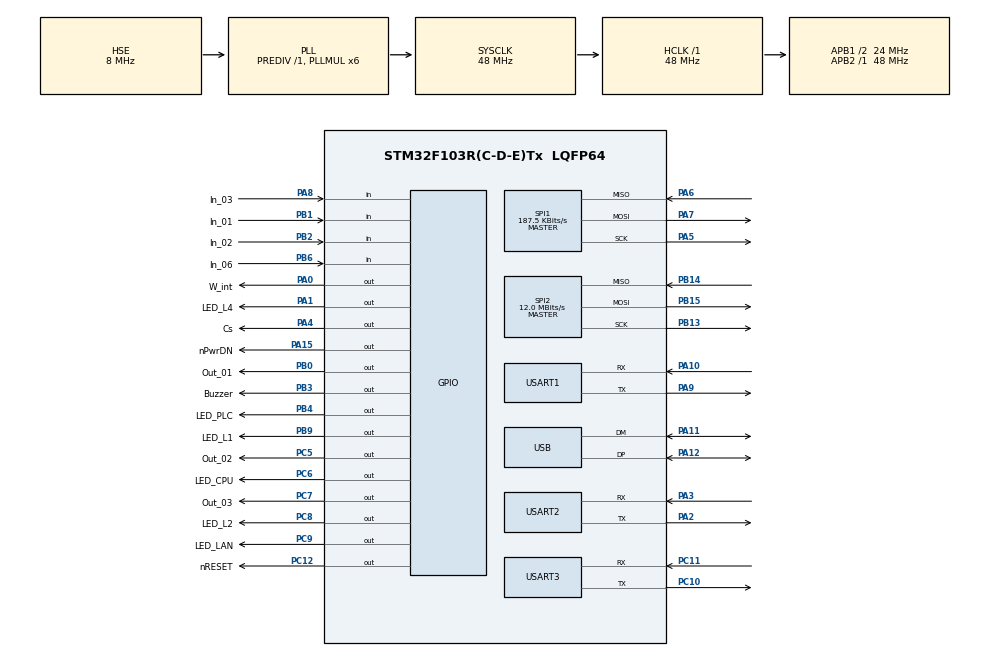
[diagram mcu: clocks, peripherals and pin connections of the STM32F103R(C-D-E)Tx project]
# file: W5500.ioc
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Dma.Request0=USART1_RX
Dma.Request1=USART2_RX
Dma.Request2=USART3_RX
Dma.USART1_RX.0.Direction=DMA_PERIPH_TO_MEMORY
Dma.USART1_RX.0.Instance=DMA1_Channel5
Dma.USART1_RX.0.MemDataAlignment=DMA_MDATAALIGN_BYTE
Dma.USART1_RX.0.MemInc=DMA_MINC_ENABLE
Dma.USART1_RX.0.Mode=DMA_CIRCULAR
Dma.USART1_RX.0.PeriphDataAlignment=DMA_PDATAALIGN_BYTE
Dma.USART1_RX.0.PeriphInc=DMA_PINC_DISABLE
Dma.USART1_RX.0.Priority=DMA_PRIORITY_LOW
Dma.USART2_RX.1.Direction=DMA_PERIPH_TO_MEMORY
Dma.USART2_RX.1.Instance=DMA1_Channel6
Dma.USART2_RX.1.MemDataAlignment=DMA_MDATAALIGN_BYTE
Dma.USART2_RX.1.MemInc=DMA_MINC_ENABLE
Dma.USART2_RX.1.Mode=DMA_CIRCULAR
Dma.USART2_RX.1.PeriphDataAlignment=DMA_PDATAALIGN_BYTE
Dma.USART2_RX.1.PeriphInc=DMA_PINC_DISABLE
Dma.USART2_RX.1.Priority=DMA_PRIORITY_LOW
Dma.USART3_RX.2.Direction=DMA_PERIPH_TO_MEMORY
Dma.USART3_RX.2.Instance=DMA1_Channel3
Dma.USART3_RX.2.MemDataAlignment=DMA_MDATAALIGN_BYTE
Dma.USART3_RX.2.MemInc=DMA_MINC_ENABLE
Dma.USART3_RX.2.Mode=DMA_CIRCULAR
Dma.USART3_RX.2.PeriphDataAlignment=DMA_PDATAALIGN_BYTE
Dma.USART3_RX.2.PeriphInc=DMA_PINC_DISABLE
Dma.USART3_RX.2.Priority=DMA_PRIORITY_LOW
IWDG.Prescaler=IWDG_PRESCALER_256
Mcu.Family=STM32F1
Mcu.Name=STM32F103R(C-D-E)Tx
Mcu.Package=LQFP64
NVIC.DMA1_Channel3_IRQn=true\:0\:0\:false\:true\:true\:1\:false\:true
NVIC.DMA1_Channel5_IRQn=true\:0\:0\:false\:true\:true\:2\:false\:true
NVIC.DMA1_Channel6_IRQn=true\:0\:0\:false\:true\:true\:3\:false\:true
NVIC.PriorityGroup=NVIC_PRIORITYGROUP_4
NVIC.SPI1_IRQn=true\:0\:0\:false\:true\:true\:7\:true\:true
NVIC.SPI2_IRQn=true\:4\:0\:true\:true\:true\:8\:true\:true
NVIC.TIM2_IRQn=true\:2\:0\:true\:true\:true\:4\:true\:true
NVIC.TIM4_IRQn=true\:3\:0\:true\:true\:true\:5\:true\:true
NVIC.USB_LP_CAN1_RX0_IRQn=true\:5\:0\:true\:true\:true\:6\:false\:true
PA0-WKUP.GPIO_Label=W_int
PA0-WKUP.Signal=GPIO_Output
PA1.GPIO_Label=LED_L4
PA1.Signal=GPIO_Output
PA10.Mode=Asynchronous
PA10.Signal=USART1_RX
PA11.Mode=Device
PA11.Signal=USB_DM
PA12.Mode=Device
PA12.Signal=USB_DP
PA13.Mode=Serial_Wire
PA13.Signal=SYS_JTMS-SWDIO
PA14.Mode=Serial_Wire
PA14.Signal=SYS_JTCK-SWCLK
PA15.GPIO_Label=nPwrDN
PA15.Signal=GPIO_Output
PA2.Mode=Asynchronous
PA2.Signal=USART2_TX
PA3.Mode=Asynchronous
PA3.Signal=USART2_RX
PA4.GPIO_Label=Cs
PA4.Signal=GPIO_Output
PA5.Mode=Full_Duplex_Master
PA5.Signal=SPI1_SCK
PA6.Mode=Full_Duplex_Master
PA6.Signal=SPI1_MISO
PA7.Mode=Full_Duplex_Master
PA7.Signal=SPI1_MOSI
PA8.GPIO_Label=In_03
PA8.Signal=GPIO_Input
PA9.Mode=Asynchronous
PA9.Signal=USART1_TX
PB0.GPIO_Label=Out_01
PB0.Signal=GPIO_Output
PB1.GPIO_Label=In_01
PB1.Signal=GPIO_Input
PB13.Mode=Full_Duplex_Master
PB13.Signal=SPI2_SCK
PB14.Mode=Full_Duplex_Master
PB14.Signal=SPI2_MISO
PB15.Mode=Full_Duplex_Master
PB15.Signal=SPI2_MOSI
PB2.GPIO_Label=In_02
PB2.Signal=GPIO_Input
PB3.GPIO_Label=Buzzer
PB3.Signal=GPIO_Output
PB4.GPIO_Label=LED_PLC
PB4.Signal=GPIO_Output
PB6.GPIO_Label=In_06
PB6.Signal=GPIO_Input
PB9.GPIO_Label=LED_L1
PB9.Signal=GPIO_Output
PC10.Mode=Asynchronous
PC10.Signal=USART3_TX
PC11.Mode=Asynchronous
PC11.Signal=USART3_RX
PC12.GPIO_Label=nRESET
PC12.Signal=GPIO_Output
PC5.GPIO_Label=Out_02
PC5.Signal=GPIO_Output
PC6.GPIO_Label=LED_CPU
PC6.Signal=GPIO_Output
PC7.GPIO_Label=Out_03
PC7.Signal=GPIO_Output
PC8.GPIO_Label=LED_L2
PC8.Signal=GPIO_Output
PC9.GPIO_Label=LED_LAN
PC9.Signal=GPIO_Output
PD0-OSC_IN.Mode=HSE-External-Oscillator
PD0-OSC_IN.Signal=RCC_OSC_IN
PD1-OSC_OUT.Mode=HSE-External-Oscillator
PD1-OSC_OUT.Signal=RCC_OSC_OUT
ProjectManager.HeapSize=0x200
ProjectManager.StackSize=0x400
ProjectManager.TargetToolchain=STM32CubeIDE
RCC.AHBFreq_Value=48000000
RCC.APB1CLKDivider=RCC_HCLK_DIV2
RCC.APB1Freq_Value=24000000
RCC.APB1TimFreq_Value=48000000
RCC.APB2Freq_Value=48000000
RCC.APB2TimFreq_Value=48000000
RCC.HCLKFreq_Value=48000000
RCC.PLLMUL=RCC_PLL_MUL6
RCC.SYSCLKFreq_VALUE=48000000
RCC.SYSCLKSource=RCC_SYSCLKSOURCE_PLLCLK
RCC.USBFreq_Value=48000000
SPI1.BaudRatePrescaler=SPI_BAUDRATEPRESCALER_256
SPI1.CalculateBaudRate=187.5 KBits/s
SPI1.Direction=SPI_DIRECTION_2LINES
SPI1.Mode=SPI_MODE_MASTER
SPI1.VirtualType=VM_MASTER
SPI2.CalculateBaudRate=12.0 MBits/s
SPI2.Direction=SPI_DIRECTION_2LINES
SPI2.Mode=SPI_MODE_MASTER
SPI2.VirtualType=VM_MASTER
TIM2.Period=63999
TIM2.Prescaler=749
TIM4.Period=63999
TIM4.Prescaler=74
USART1.VirtualMode=VM_ASYNC
USART2.VirtualMode=VM_ASYNC
USART3.VirtualMode=VM_ASYNC
USB_DEVICE.CLASS_NAME_FS=CDC
USB_DEVICE.VirtualMode=Cdc
USB_DEVICE.VirtualModeFS=Cdc_FS
VP_IWDG_VS_IWDG.Mode=IWDG_Activate
VP_TIM2_VS_ClockSourceINT.Mode=Internal
VP_TIM4_VS_ClockSourceINT.Mode=Internal
VP_USB_DEVICE_VS_USB_DEVICE_CDC_FS.Mode=CDC_FS
board=custom

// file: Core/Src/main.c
/* USER CODE BEGIN Header */
/**
  ******************************************************************************
  * @file           : main.c
  * @brief          : Main program body
  ******************************************************************************
  * @attention
  *
  * <h2><center>&copy; Copyright (c) 2020 STMicroelectronics.
  * All rights reserved.</center></h2>
  *
  * This software component is licensed by ST under Ultimate Liberty license
  * SLA0044, the "License"; You may not use this file except in compliance with
  * the License. You may obtain a copy of the License at:
  *                             www.st.com/SLA0044
  *
  ******************************************************************************
  */
/* USER CODE END Header */
#include "main.h"
#include "usb_device.h"

IWDG_HandleTypeDef hiwdg;

SPI_HandleTypeDef hspi1;
SPI_HandleTypeDef hspi2;

TIM_HandleTypeDef htim2;
TIM_HandleTypeDef htim4;

/* USER CODE BEGIN PV */
Timer Led;
Timer net;

DhcpConnection dhcpc;
DnsConnection dnsc;
TcpClient	devtcc;
ServerConnection websc;
WebServer webServer;

/*For Applications*/
uint8_t TX_BUF[TX_RX_MAX_BUF_SIZE]; // TX Buffer for applications
uint8_t ch_status[MAX_SOCK_NUM] = { 0, }; /** 0:close, 1:ready, 2:connected */
uint8_t IpServer[4] = {192,168,0,3}; //mi pc
uint16_t Port = 8888;

uint8_t DNS_Server_1[4] = {8,8,8,8};//1st DNS server
uint8_t DNS_Server_2[4] = {168, 126, 63, 1};//Secondary server
/* USER CODE END PV */

void SystemClock_Config(void);
static void MX_GPIO_Init(void);
static void MX_DMA_Init(void);
static void MX_IWDG_Init(void);
static void MX_SPI2_Init(void);
static void MX_TIM2_Init(void);
static void MX_TIM4_Init(void);
static void MX_USART1_UART_Init(void);
static void MX_USART2_UART_Init(void);
static void MX_USART3_UART_Init(void);
static void MX_SPI1_Init(void);
static void MX_NVIC_Init(void);

/* USER CODE BEGIN 0 */
// NO HAL REQUIRED
void T(char * format,...){
	char msg[1024] = {0};
	char *p = msg;
	va_list args;
	va_start(args,format);

	vsnprintf(msg, sizeof(msg), format, args);
	strcat(msg,"\r\n");
	while(*p){

		USART1->DR = (uint32_t)*(p++);
		while(!(USART1->SR & USART_SR_TC));
	}
	va_end(args);
}

/* USER CODE END 0 */

int main(void)
{

  /* MCU Configuration--------------------------------------------------------*/

  /* Reset of all peripherals, Initializes the Flash interface and the Systick. */
  HAL_Init();

  /* Configure the system clock */
  SystemClock_Config();

  /* Initialize all configured peripherals */
  MX_GPIO_Init();
  MX_DMA_Init();
  MX_IWDG_Init();
  MX_SPI2_Init();
  MX_TIM2_Init();
  MX_TIM4_Init();
  MX_USART1_UART_Init();
  MX_USART2_UART_Init();
  MX_USART3_UART_Init();
  MX_USB_DEVICE_Init();
  MX_SPI1_Init();

  /* Initialize interrupts */
  MX_NVIC_Init();
  /* USER CODE BEGIN 2 */

  HAL_GPIO_WritePin(GPIOB, Buzzer_Pin, GPIO_PIN_SET); //Apagar buzzer ?

  for(int i = 0; i<5 ; i++){
	  HAL_GPIO_TogglePin(LED_CPU_GPIO_Port, LED_CPU_Pin);
	  HAL_Delay(100);
  }

  T("Iniciando...");

  Timer_Init(&Led, 3000);
  Timer_Start(&Led);

  /*1. Inicia W5500 y caracteristicas de la red*/
  W5500_Init(&w5500_Network);

  /*2. Inicial FSM de Paginas Web*/
  WebServer_Init();

  /*3. Iniciar DHCP Client*/
  DHCP_init(&dhcpc, 3, ip_assign_callback, ip_conflict_callback);

  /* USER CODE END 2 */

  /* Infinite loop */
  /* USER CODE BEGIN WHILE */

  /*4. Espera assignación de Ip */
  while(1)
  {
	  DhcpClient_Events(&dhcpc);

	  if(dhcpc.ipDhcpFlag == DHCP_IP_LEASED){
		  /*5. Inicia Cliente TCP*/
		  TcpClientConn_Init(&devtcc, 1, IpServer, Port, Client_Receiver_EventHandler, Client_onConnection_EventHandler);
		  /*6. Inicia Servidor TCP*/
		  ServerConnection_Init(&websc, 2, 80, WebServer_ListenEventHandler);
		  /*7. Inicial Cliente DNS UDP*/
		  DNS_init(&dnsc,0,"www.globalgps.pe",DNS_MSG_ID,DNS_Server_1, DNS_Server_2);
		  Timer_Init(&net, 3000);
		  Timer_Start(&net);
		  break;
	  }
  }

  while (1)
  {
	  if(Timer_Elapsed(&Led)){
		  LED_CPU_GPIO_Port->ODR ^=LED_CPU_Pin;
		  Timer_Start(&Led);
	  }

	  if(Timer_Elapsed(&net)){
		  DnsClient_Lookup(&dnsc);
	  }

    /* USER CODE END WHILE */

    /* USER CODE BEGIN 3 */
	  DhcpClient_Events(&dhcpc);
	  ServerConn_Events(&websc);
	  TcpClientConn_Events(&devtcc, 50001);

	  HAL_IWDG_Refresh(&hiwdg);
  }
  /* USER CODE END 3 */
}

void SystemClock_Config(void)
{
  RCC_OscInitTypeDef RCC_OscInitStruct = {0};
  RCC_ClkInitTypeDef RCC_ClkInitStruct = {0};
  RCC_PeriphCLKInitTypeDef PeriphClkInit = {0};

  /** Initializes the RCC Oscillators according to the specified parameters
  * in the RCC_OscInitTypeDef structure.
  */
  RCC_OscInitStruct.OscillatorType = RCC_OSCILLATORTYPE_LSI|RCC_OSCILLATORTYPE_HSE;
  RCC_OscInitStruct.HSEState = RCC_HSE_ON;
  RCC_OscInitStruct.HSEPredivValue = RCC_HSE_PREDIV_DIV1;
  RCC_OscInitStruct.HSIState = RCC_HSI_ON;
  RCC_OscInitStruct.LSIState = RCC_LSI_ON;
  RCC_OscInitStruct.PLL.PLLState = RCC_PLL_ON;
  RCC_OscInitStruct.PLL.PLLSource = RCC_PLLSOURCE_HSE;
  RCC_OscInitStruct.PLL.PLLMUL = RCC_PLL_MUL6;
  if (HAL_RCC_OscConfig(&RCC_OscInitStruct) != HAL_OK)
  {
    Error_Handler();
  }
  /** Initializes the CPU, AHB and APB buses clocks
  */
  RCC_ClkInitStruct.ClockType = RCC_CLOCKTYPE_HCLK|RCC_CLOCKTYPE_SYSCLK
                              |RCC_CLOCKTYPE_PCLK1|RCC_CLOCKTYPE_PCLK2;
  RCC_ClkInitStruct.SYSCLKSource = RCC_SYSCLKSOURCE_PLLCLK;
  RCC_ClkInitStruct.AHBCLKDivider = RCC_SYSCLK_DIV1;
  RCC_ClkInitStruct.APB1CLKDivider = RCC_HCLK_DIV2;
  RCC_ClkInitStruct.APB2CLKDivider = RCC_HCLK_DIV1;

  if (HAL_RCC_ClockConfig(&RCC_ClkInitStruct, FLASH_LATENCY_1) != HAL_OK)
  {
    Error_Handler();
  }
  PeriphClkInit.PeriphClockSelection = RCC_PERIPHCLK_USB;
  PeriphClkInit.UsbClockSelection = RCC_USBCLKSOURCE_PLL;
  if (HAL_RCCEx_PeriphCLKConfig(&PeriphClkInit) != HAL_OK)
  {
    Error_Handler();
  }
}

/**
  * @brief NVIC Configuration.
  * @retval None
  */
static void MX_NVIC_Init(void)
{
  /* DMA1_Channel3_IRQn interrupt configuration */
  NVIC_SetPriority(DMA1_Channel3_IRQn, NVIC_EncodePriority(NVIC_GetPriorityGrouping(),0, 0));
  NVIC_EnableIRQ(DMA1_Channel3_IRQn);
  /* DMA1_Channel5_IRQn interrupt configuration */
  NVIC_SetPriority(DMA1_Channel5_IRQn, NVIC_EncodePriority(NVIC_GetPriorityGrouping(),0, 0));
  NVIC_EnableIRQ(DMA1_Channel5_IRQn);
  /* DMA1_Channel6_IRQn interrupt configuration */
  NVIC_SetPriority(DMA1_Channel6_IRQn, NVIC_EncodePriority(NVIC_GetPriorityGrouping(),0, 0));
  NVIC_EnableIRQ(DMA1_Channel6_IRQn);
  /* TIM2_IRQn interrupt configuration */
  HAL_NVIC_SetPriority(TIM2_IRQn, 2, 0);
  HAL_NVIC_EnableIRQ(TIM2_IRQn);
  /* TIM4_IRQn interrupt configuration */
  HAL_NVIC_SetPriority(TIM4_IRQn, 3, 0);
  HAL_NVIC_EnableIRQ(TIM4_IRQn);
  /* USB_LP_CAN1_RX0_IRQn interrupt configuration */
  HAL_NVIC_SetPriority(USB_LP_CAN1_RX0_IRQn, 5, 0);
  HAL_NVIC_EnableIRQ(USB_LP_CAN1_RX0_IRQn);
  /* SPI1_IRQn interrupt configuration */
  HAL_NVIC_SetPriority(SPI1_IRQn, 0, 0);
  HAL_NVIC_EnableIRQ(SPI1_IRQn);
  /* SPI2_IRQn interrupt configuration */
  HAL_NVIC_SetPriority(SPI2_IRQn, 4, 0);
  HAL_NVIC_EnableIRQ(SPI2_IRQn);
}

static void MX_IWDG_Init(void)
{

  hiwdg.Instance = IWDG;
  hiwdg.Init.Prescaler = IWDG_PRESCALER_256;
  hiwdg.Init.Reload = 4095;
  if (HAL_IWDG_Init(&hiwdg) != HAL_OK)
  {
    Error_Handler();
  }

}

static void MX_SPI1_Init(void)
{

  /* SPI1 parameter configuration*/
  hspi1.Instance = SPI1;
  hspi1.Init.Mode = SPI_MODE_MASTER;
  hspi1.Init.Direction = SPI_DIRECTION_2LINES;
  hspi1.Init.DataSize = SPI_DATASIZE_8BIT;
  hspi1.Init.CLKPolarity = SPI_POLARITY_LOW;
  hspi1.Init.CLKPhase = SPI_PHASE_1EDGE;
  hspi1.Init.NSS = SPI_NSS_SOFT;
  hspi1.Init.BaudRatePrescaler = SPI_BAUDRATEPRESCALER_256;
  hspi1.Init.FirstBit = SPI_FIRSTBIT_MSB;
  hspi1.Init.TIMode = SPI_TIMODE_DISABLE;
  hspi1.Init.CRCCalculation = SPI_CRCCALCULATION_DISABLE;
  hspi1.Init.CRCPolynomial = 10;
  if (HAL_SPI_Init(&hspi1) != HAL_OK)
  {
    Error_Handler();
  }

}

static void MX_SPI2_Init(void)
{

  /* SPI2 parameter configuration*/
  hspi2.Instance = SPI2;
  hspi2.Init.Mode = SPI_MODE_MASTER;
  hspi2.Init.Direction = SPI_DIRECTION_2LINES;
  hspi2.Init.DataSize = SPI_DATASIZE_8BIT;
  hspi2.Init.CLKPolarity = SPI_POLARITY_LOW;
  hspi2.Init.CLKPhase = SPI_PHASE_1EDGE;
  hspi2.Init.NSS = SPI_NSS_SOFT;
  hspi2.Init.BaudRatePrescaler = SPI_BAUDRATEPRESCALER_2;
  hspi2.Init.FirstBit = SPI_FIRSTBIT_MSB;
  hspi2.Init.TIMode = SPI_TIMODE_DISABLE;
  hspi2.Init.CRCCalculation = SPI_CRCCALCULATION_DISABLE;
  hspi2.Init.CRCPolynomial = 10;
  if (HAL_SPI_Init(&hspi2) != HAL_OK)
  {
    Error_Handler();
  }

}

static void MX_TIM2_Init(void)
{

  TIM_ClockConfigTypeDef sClockSourceConfig = {0};
  TIM_MasterConfigTypeDef sMasterConfig = {0};

  htim2.Instance = TIM2;
  htim2.Init.Prescaler = 749;
  htim2.Init.CounterMode = TIM_COUNTERMODE_UP;
  htim2.Init.Period = 63999;
  htim2.Init.ClockDivision = TIM_CLOCKDIVISION_DIV1;
  htim2.Init.AutoReloadPreload = TIM_AUTORELOAD_PRELOAD_DISABLE;
  if (HAL_TIM_Base_Init(&htim2) != HAL_OK)
  {
    Error_Handler();
  }
  sClockSourceConfig.ClockSource = TIM_CLOCKSOURCE_INTERNAL;
  if (HAL_TIM_ConfigClockSource(&htim2, &sClockSourceConfig) != HAL_OK)
  {
    Error_Handler();
  }
  sMasterConfig.MasterOutputTrigger = TIM_TRGO_RESET;
  sMasterConfig.MasterSlaveMode = TIM_MASTERSLAVEMODE_DISABLE;
  if (HAL_TIMEx_MasterConfigSynchronization(&htim2, &sMasterConfig) != HAL_OK)
  {
    Error_Handler();
  }

}

static void MX_TIM4_Init(void)
{

  TIM_ClockConfigTypeDef sClockSourceConfig = {0};
  TIM_MasterConfigTypeDef sMasterConfig = {0};

  htim4.Instance = TIM4;
  htim4.Init.Prescaler = 74;
  htim4.Init.CounterMode = TIM_COUNTERMODE_UP;
  htim4.Init.Period = 63999;
  htim4.Init.ClockDivision = TIM_CLOCKDIVISION_DIV1;
  htim4.Init.AutoReloadPreload = TIM_AUTORELOAD_PRELOAD_DISABLE;
  if (HAL_TIM_Base_Init(&htim4) != HAL_OK)
  {
    Error_Handler();
  }
  sClockSourceConfig.ClockSource = TIM_CLOCKSOURCE_INTERNAL;
  if (HAL_TIM_ConfigClockSource(&htim4, &sClockSourceConfig) != HAL_OK)
  {
    Error_Handler();
  }
  sMasterConfig.MasterOutputTrigger = TIM_TRGO_RESET;
  sMasterConfig.MasterSlaveMode = TIM_MASTERSLAVEMODE_DISABLE;
  if (HAL_TIMEx_MasterConfigSynchronization(&htim4, &sMasterConfig) != HAL_OK)
  {
    Error_Handler();
  }

}

static void MX_USART1_UART_Init(void)
{

  LL_USART_InitTypeDef USART_InitStruct = {0};

  LL_GPIO_InitTypeDef GPIO_InitStruct = {0};

  /* Peripheral clock enable */
  LL_APB2_GRP1_EnableClock(LL_APB2_GRP1_PERIPH_USART1);

  LL_APB2_GRP1_EnableClock(LL_APB2_GRP1_PERIPH_GPIOA);
  /**USART1 GPIO Configuration
  PA9   ------> USART1_TX
  PA10   ------> USART1_RX
  */
  GPIO_InitStruct.Pin = LL_GPIO_PIN_9;
  GPIO_InitStruct.Mode = LL_GPIO_MODE_ALTERNATE;
  GPIO_InitStruct.Speed = LL_GPIO_SPEED_FREQ_HIGH;
  GPIO_InitStruct.OutputType = LL_GPIO_OUTPUT_PUSHPULL;
  LL_GPIO_Init(GPIOA, &GPIO_InitStruct);

  GPIO_InitStruct.Pin = LL_GPIO_PIN_10;
  GPIO_InitStruct.Mode = LL_GPIO_MODE_FLOATING;
  LL_GPIO_Init(GPIOA, &GPIO_InitStruct);

  /* USART1 DMA Init */

  /* USART1_RX Init */
  LL_DMA_SetDataTransferDirection(DMA1, LL_DMA_CHANNEL_5, LL_DMA_DIRECTION_PERIPH_TO_MEMORY);

  LL_DMA_SetChannelPriorityLevel(DMA1, LL_DMA_CHANNEL_5, LL_DMA_PRIORITY_LOW);

  LL_DMA_SetMode(DMA1, LL_DMA_CHANNEL_5, LL_DMA_MODE_CIRCULAR);

  LL_DMA_SetPeriphIncMode(DMA1, LL_DMA_CHANNEL_5, LL_DMA_PERIPH_NOINCREMENT);

  LL_DMA_SetMemoryIncMode(DMA1, LL_DMA_CHANNEL_5, LL_DMA_MEMORY_INCREMENT);

  LL_DMA_SetPeriphSize(DMA1, LL_DMA_CHANNEL_5, LL_DMA_PDATAALIGN_BYTE);

  LL_DMA_SetMemorySize(DMA1, LL_DMA_CHANNEL_5, LL_DMA_MDATAALIGN_BYTE);

  USART_InitStruct.BaudRate = 115200;
  USART_InitStruct.DataWidth = LL_USART_DATAWIDTH_8B;
  USART_InitStruct.StopBits = LL_USART_STOPBITS_1;
  USART_InitStruct.Parity = LL_USART_PARITY_NONE;
  USART_InitStruct.TransferDirection = LL_USART_DIRECTION_TX_RX;
  USART_InitStruct.HardwareFlowControl = LL_USART_HWCONTROL_NONE;
  USART_InitStruct.OverSampling = LL_USART_OVERSAMPLING_16;
  LL_USART_Init(USART1, &USART_InitStruct);
  LL_USART_ConfigAsyncMode(USART1);
  LL_USART_Enable(USART1);

}

static void MX_USART2_UART_Init(void)
{

  LL_USART_InitTypeDef USART_InitStruct = {0};

  LL_GPIO_InitTypeDef GPIO_InitStruct = {0};

  /* Peripheral clock enable */
  LL_APB1_GRP1_EnableClock(LL_APB1_GRP1_PERIPH_USART2);

  LL_APB2_GRP1_EnableClock(LL_APB2_GRP1_PERIPH_GPIOA);
  /**USART2 GPIO Configuration
  PA2   ------> USART2_TX
  PA3   ------> USART2_RX
  */
  GPIO_InitStruct.Pin = LL_GPIO_PIN_2;
  GPIO_InitStruct.Mode = LL_GPIO_MODE_ALTERNATE;
  GPIO_InitStruct.Speed = LL_GPIO_SPEED_FREQ_HIGH;
  GPIO_InitStruct.OutputType = LL_GPIO_OUTPUT_PUSHPULL;
  LL_GPIO_Init(GPIOA, &GPIO_InitStruct);

  GPIO_InitStruct.Pin = LL_GPIO_PIN_3;
  GPIO_InitStruct.Mode = LL_GPIO_MODE_FLOATING;
  LL_GPIO_Init(GPIOA, &GPIO_InitStruct);

  /* USART2 DMA Init */

  /* USART2_RX Init */
  LL_DMA_SetDataTransferDirection(DMA1, LL_DMA_CHANNEL_6, LL_DMA_DIRECTION_PERIPH_TO_MEMORY);

  LL_DMA_SetChannelPriorityLevel(DMA1, LL_DMA_CHANNEL_6, LL_DMA_PRIORITY_LOW);

  LL_DMA_SetMode(DMA1, LL_DMA_CHANNEL_6, LL_DMA_MODE_CIRCULAR);

  LL_DMA_SetPeriphIncMode(DMA1, LL_DMA_CHANNEL_6, LL_DMA_PERIPH_NOINCREMENT);

  LL_DMA_SetMemoryIncMode(DMA1, LL_DMA_CHANNEL_6, LL_DMA_MEMORY_INCREMENT);

  LL_DMA_SetPeriphSize(DMA1, LL_DMA_CHANNEL_6, LL_DMA_PDATAALIGN_BYTE);

  LL_DMA_SetMemorySize(DMA1, LL_DMA_CHANNEL_6, LL_DMA_MDATAALIGN_BYTE);

  USART_InitStruct.BaudRate = 115200;
  USART_InitStruct.DataWidth = LL_USART_DATAWIDTH_8B;
  USART_InitStruct.StopBits = LL_USART_STOPBITS_1;
  USART_InitStruct.Parity = LL_USART_PARITY_NONE;
  USART_InitStruct.TransferDirection = LL_USART_DIRECTION_TX_RX;
  USART_InitStruct.HardwareFlowControl = LL_USART_HWCONTROL_NONE;
  USART_InitStruct.OverSampling = LL_USART_OVERSAMPLING_16;
  LL_USART_Init(USART2, &USART_InitStruct);
  LL_USART_ConfigAsyncMode(USART2);
  LL_USART_Enable(USART2);

}

static void MX_USART3_UART_Init(void)
{

  LL_USART_InitTypeDef USART_InitStruct = {0};

  LL_GPIO_InitTypeDef GPIO_InitStruct = {0};

  /* Peripheral clock enable */
  LL_APB1_GRP1_EnableClock(LL_APB1_GRP1_PERIPH_USART3);

  LL_APB2_GRP1_EnableClock(LL_APB2_GRP1_PERIPH_GPIOC);
  /**USART3 GPIO Configuration
  PC10   ------> USART3_TX
  PC11   ------> USART3_RX
  */
  GPIO_InitStruct.Pin = LL_GPIO_PIN_10;
  GPIO_InitStruct.Mode = LL_GPIO_MODE_ALTERNATE;
  GPIO_InitStruct.Speed = LL_GPIO_SPEED_FREQ_HIGH;
  GPIO_InitStruct.OutputType = LL_GPIO_OUTPUT_PUSHPULL;
  LL_GPIO_Init(GPIOC, &GPIO_InitStruct);

  GPIO_InitStruct.Pin = LL_GPIO_PIN_11;
  GPIO_InitStruct.Mode = LL_GPIO_MODE_FLOATING;
  LL_GPIO_Init(GPIOC, &GPIO_InitStruct);

  LL_GPIO_AF_RemapPartial_USART3();

  /* USART3 DMA Init */

  /* USART3_RX Init */
  LL_DMA_SetDataTransferDirection(DMA1, LL_DMA_CHANNEL_3, LL_DMA_DIRECTION_PERIPH_TO_MEMORY);

  LL_DMA_SetChannelPriorityLevel(DMA1, LL_DMA_CHANNEL_3, LL_DMA_PRIORITY_LOW);

  LL_DMA_SetMode(DMA1, LL_DMA_CHANNEL_3, LL_DMA_MODE_CIRCULAR);

  LL_DMA_SetPeriphIncMode(DMA1, LL_DMA_CHANNEL_3, LL_DMA_PERIPH_NOINCREMENT);

  LL_DMA_SetMemoryIncMode(DMA1, LL_DMA_CHANNEL_3, LL_DMA_MEMORY_INCREMENT);

  LL_DMA_SetPeriphSize(DMA1, LL_DMA_CHANNEL_3, LL_DMA_PDATAALIGN_BYTE);

  LL_DMA_SetMemorySize(DMA1, LL_DMA_CHANNEL_3, LL_DMA_MDATAALIGN_BYTE);

  USART_InitStruct.BaudRate = 115200;
  USART_InitStruct.DataWidth = LL_USART_DATAWIDTH_8B;
  USART_InitStruct.StopBits = LL_USART_STOPBITS_1;
  USART_InitStruct.Parity = LL_USART_PARITY_NONE;
  USART_InitStruct.TransferDirection = LL_USART_DIRECTION_TX_RX;
  USART_InitStruct.HardwareFlowControl = LL_USART_HWCONTROL_NONE;
  USART_InitStruct.OverSampling = LL_USART_OVERSAMPLING_16;
  LL_USART_Init(USART3, &USART_InitStruct);
  LL_USART_ConfigAsyncMode(USART3);
  LL_USART_Enable(USART3);

}

static void MX_DMA_Init(void)
{

  /* Init with LL driver */
  /* DMA controller clock enable */
  LL_AHB1_GRP1_EnableClock(LL_AHB1_GRP1_PERIPH_DMA1);

}

static void MX_GPIO_Init(void)
{
  GPIO_InitTypeDef GPIO_InitStruct = {0};

  /* GPIO Ports Clock Enable */
  __HAL_RCC_GPIOD_CLK_ENABLE();
  __HAL_RCC_GPIOA_CLK_ENABLE();
  __HAL_RCC_GPIOC_CLK_ENABLE();
  __HAL_RCC_GPIOB_CLK_ENABLE();

  /*Configure GPIO pin Output Level */
  HAL_GPIO_WritePin(GPIOA, W_int_Pin|LED_L4_Pin|Cs_Pin|nPwrDN_Pin, GPIO_PIN_RESET);

  /*Configure GPIO pin Output Level */
  HAL_GPIO_WritePin(GPIOC, Out_02_Pin|LED_CPU_Pin|Out_03_Pin|LED_L2_Pin
                          |LED_LAN_Pin|nRESET_Pin, GPIO_PIN_RESET);

  /*Configure GPIO pin Output Level */
  HAL_GPIO_WritePin(GPIOB, Out_01_Pin|Buzzer_Pin|LED_PLC_Pin|LED_L1_Pin, GPIO_PIN_RESET);

  /*Configure GPIO pins : W_int_Pin LED_L4_Pin Cs_Pin nPwrDN_Pin */
  GPIO_InitStruct.Pin = W_int_Pin|LED_L4_Pin|Cs_Pin|nPwrDN_Pin;
  GPIO_InitStruct.Mode = GPIO_MODE_OUTPUT_PP;
  GPIO_InitStruct.Pull = GPIO_NOPULL;
  GPIO_InitStruct.Speed = GPIO_SPEED_FREQ_LOW;
  HAL_GPIO_Init(GPIOA, &GPIO_InitStruct);

  /*Configure GPIO pins : Out_02_Pin LED_CPU_Pin Out_03_Pin LED_L2_Pin
                           LED_LAN_Pin nRESET_Pin */
  GPIO_InitStruct.Pin = Out_02_Pin|LED_CPU_Pin|Out_03_Pin|LED_L2_Pin
                          |LED_LAN_Pin|nRESET_Pin;
  GPIO_InitStruct.Mode = GPIO_MODE_OUTPUT_PP;
  GPIO_InitStruct.Pull = GPIO_NOPULL;
  GPIO_InitStruct.Speed = GPIO_SPEED_FREQ_LOW;
  HAL_GPIO_Init(GPIOC, &GPIO_InitStruct);

  /*Configure GPIO pins : Out_01_Pin Buzzer_Pin LED_PLC_Pin LED_L1_Pin */
  GPIO_InitStruct.Pin = Out_01_Pin|Buzzer_Pin|LED_PLC_Pin|LED_L1_Pin;
  GPIO_InitStruct.Mode = GPIO_MODE_OUTPUT_PP;
  GPIO_InitStruct.Pull = GPIO_NOPULL;
  GPIO_InitStruct.Speed = GPIO_SPEED_FREQ_LOW;
  HAL_GPIO_Init(GPIOB, &GPIO_InitStruct);

  /*Configure GPIO pins : In_01_Pin In_02_Pin In_06_Pin */
  GPIO_InitStruct.Pin = In_01_Pin|In_02_Pin|In_06_Pin;
  GPIO_InitStruct.Mode = GPIO_MODE_INPUT;
  GPIO_InitStruct.Pull = GPIO_NOPULL;
  HAL_GPIO_Init(GPIOB, &GPIO_InitStruct);

  /*Configure GPIO pin : In_03_Pin */
  GPIO_InitStruct.Pin = In_03_Pin;
  GPIO_InitStruct.Mode = GPIO_MODE_INPUT;
  GPIO_InitStruct.Pull = GPIO_NOPULL;
  HAL_GPIO_Init(In_03_GPIO_Port, &GPIO_InitStruct);

}

void Error_Handler(void)
{
}

/************************ (C) COPYRIGHT STMicroelectronics *****END OF FILE****/
